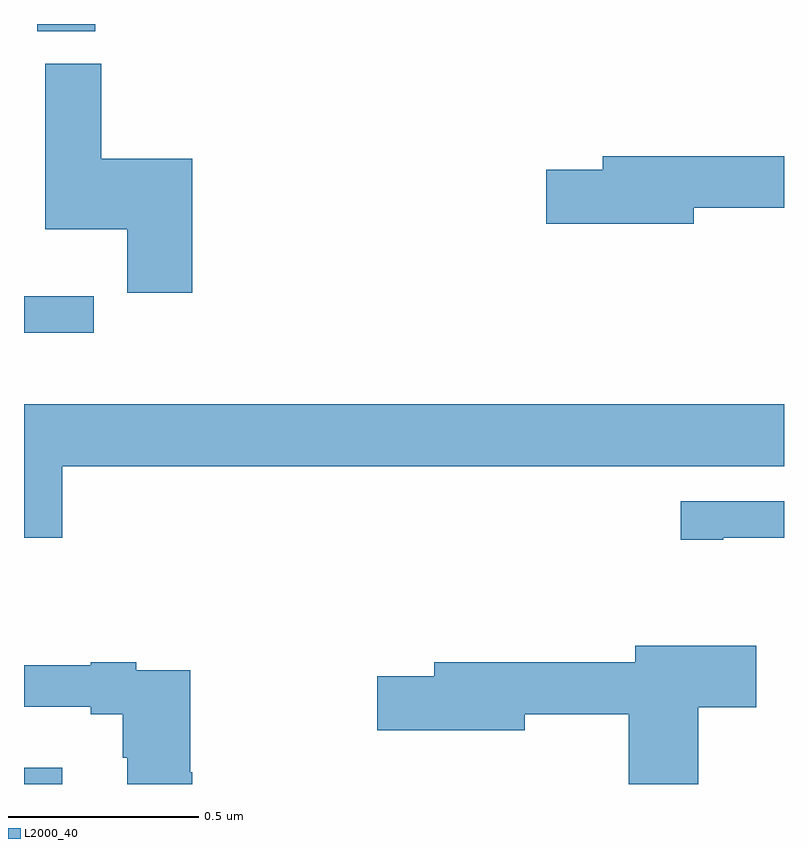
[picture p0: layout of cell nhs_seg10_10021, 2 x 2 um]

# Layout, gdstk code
import gdstk
lib = gdstk.Library(unit=1e-6, precision=1e-09)
def R(c, l, rs):  # rectangles x0, y0, x1, y1
    for r in rs: c.add(gdstk.rectangle(r[:2], r[2:], *l))
def P(c, l, *ps):  # polygons
    for p in ps: c.add(gdstk.Polygon(p, *l))
L2000_40 = (2000, 40)

nhs_seg10_10021 = lib.new_cell('nhs_seg10_10021')
R(nhs_seg10_10021, L2000_40, [(237,1279.5,237.1,1279.543), (237,1280.688,237.184,1280.784), (237.035,1281.481,237.188,1281.5)])
P(nhs_seg10_10021, L2000_40, [(237.443,1281.145),(237.203,1281.145),(237.203,1281.396),(237.056,1281.396),(237.056,1280.96),(237.272,1280.96),(237.272,1280.793),(237.443,1280.793)],
  [(238.762,1281.016),(239,1281.016),(239,1281.152),(238.523,1281.152),(238.523,1281.116),(238.374,1281.116),(238.374,1280.974),(238.762,1280.974)],
  [(237.1,1280.336),(239,1280.336),(239,1280.5),(237,1280.5),(237,1280.148),(237.1,1280.148)],
  [(238.84,1280.148),(239,1280.148),(239,1280.244),(238.728,1280.244),(238.728,1280.143),(238.84,1280.143)],
  [(238.774,1279.702),(238.927,1279.702),(238.927,1279.864),(238.608,1279.864),(238.608,1279.82),(238.079,1279.82),(238.079,1279.784),(237.93,1279.784),(237.93,1279.642),(238.318,1279.642),(238.318,1279.684),(238.592,1279.684),(238.592,1279.5),(238.774,1279.5)],
  [(237.443,1279.531),(237.438,1279.531),(237.438,1279.8),(237.296,1279.8),(237.296,1279.82),(237.176,1279.82),(237.176,1279.813),(237,1279.813),(237,1279.703),(237.176,1279.703),(237.176,1279.684),(237.26,1279.684),(237.26,1279.569),(237.272,1279.569),(237.272,1279.5),(237.443,1279.5)])

lib.write_gds('nhs_seg10_10021.gds')
